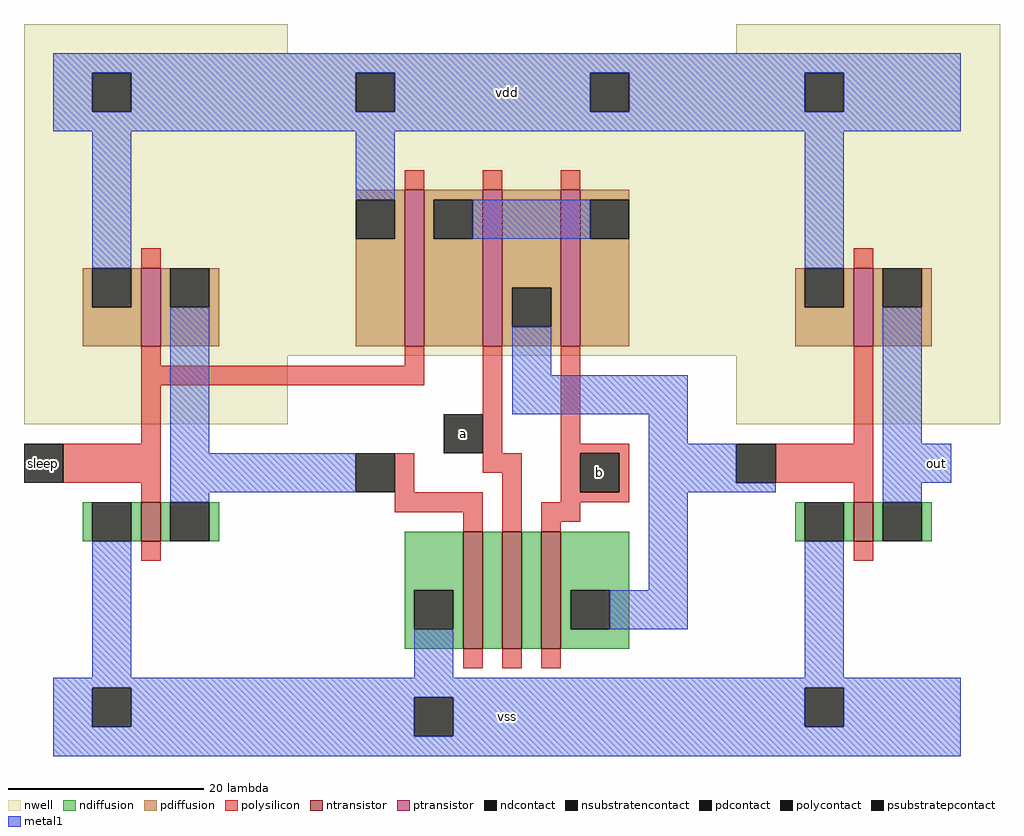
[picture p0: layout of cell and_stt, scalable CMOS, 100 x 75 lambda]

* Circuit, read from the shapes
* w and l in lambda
.subckt and_stt a b out sleep vdd vss
M1 n1 sleep vss vss nfet w=4 l=2
M2 n2 n1 vss vss nfet w=12 l=2
M3 n3 a n2 vss nfet w=12 l=2
M4 n4 b n3 vss nfet w=12 l=2
M5 out n4 vss vss nfet w=4 l=2
M6 n1 sleep vdd vdd pfet w=8 l=2
M7 n5 sleep vdd vdd pfet w=16 l=2
M8 n4 a n5 vdd pfet w=16 l=2
M9 n5 b n4 vdd pfet w=16 l=2
M10 out n4 vdd vdd pfet w=8 l=2
.ends

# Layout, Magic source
magic
tech scmos
<< nwell >>
rect -39 72 -12 75
rect 34 72 61 75
rect -39 41 61 72
rect -39 34 -12 41
rect 34 34 61 41
<< polysilicon >>
rect 0 58 2 60
rect 8 58 10 60
rect 16 58 18 60
rect -27 50 -25 52
rect 46 50 48 52
rect -27 40 -25 42
rect 0 40 2 42
rect -27 38 2 40
rect -27 32 -25 38
rect -35 28 -25 32
rect 8 31 10 42
rect 16 32 18 42
rect 46 32 48 42
rect 16 31 23 32
rect -27 26 -25 28
rect -1 27 1 31
rect 8 29 12 31
rect -1 25 8 27
rect 6 23 8 25
rect 10 23 12 29
rect 16 27 18 31
rect 22 27 23 31
rect 38 28 48 32
rect 16 26 23 27
rect 46 26 48 28
rect 14 24 18 26
rect 14 23 16 24
rect -27 20 -25 22
rect 46 20 48 22
rect 6 9 8 11
rect 10 9 12 11
rect 14 9 16 11
<< ndiffusion >>
rect -33 22 -32 26
rect -28 22 -27 26
rect -25 22 -24 26
rect -20 22 -19 26
rect 0 17 6 23
rect 0 13 1 17
rect 5 13 6 17
rect 0 11 6 13
rect 8 11 10 23
rect 12 11 14 23
rect 16 17 23 23
rect 40 22 41 26
rect 45 22 46 26
rect 48 22 49 26
rect 53 22 54 26
rect 16 13 17 17
rect 21 13 23 17
rect 16 11 23 13
<< pdiffusion >>
rect -5 57 0 58
rect -1 53 0 57
rect -33 46 -32 50
rect -28 46 -27 50
rect -33 42 -27 46
rect -25 46 -24 50
rect -20 46 -19 50
rect -25 42 -19 46
rect -5 42 0 53
rect 2 57 8 58
rect 2 53 3 57
rect 7 53 8 57
rect 2 42 8 53
rect 10 48 16 58
rect 10 44 11 48
rect 15 44 16 48
rect 10 42 16 44
rect 18 57 23 58
rect 18 53 19 57
rect 18 42 23 53
rect 40 46 41 50
rect 45 46 46 50
rect 40 42 46 46
rect 48 46 49 50
rect 53 46 54 50
rect 48 42 54 46
<< metal1 >>
rect -36 70 57 72
rect -36 66 -32 70
rect -28 66 -5 70
rect -1 66 19 70
rect 23 66 41 70
rect 45 66 57 70
rect -36 64 57 66
rect -32 50 -28 64
rect -5 57 -1 64
rect 7 53 19 57
rect 41 50 45 64
rect -24 31 -20 46
rect 11 39 15 44
rect 11 35 29 39
rect 25 32 29 35
rect 49 32 53 46
rect -24 27 -5 31
rect 25 28 34 32
rect 25 27 38 28
rect 49 28 56 32
rect -24 26 -20 27
rect -32 8 -28 22
rect 25 17 29 27
rect 49 26 53 28
rect 21 13 29 17
rect 1 8 5 13
rect 41 8 45 22
rect -36 7 57 8
rect -36 3 -32 7
rect -28 6 41 7
rect -28 3 1 6
rect -36 2 1 3
rect 5 3 41 6
rect 45 3 57 7
rect 5 2 57 3
rect -36 0 57 2
<< ntransistor >>
rect -27 22 -25 26
rect 6 11 8 23
rect 10 11 12 23
rect 14 11 16 23
rect 46 22 48 26
<< ptransistor >>
rect -27 42 -25 50
rect 0 42 2 58
rect 8 42 10 58
rect 16 42 18 58
rect 46 42 48 50
<< polycontact >>
rect -39 28 -35 32
rect 4 31 8 35
rect -5 27 -1 31
rect 18 27 22 31
rect 34 28 38 32
<< ndcontact >>
rect -32 22 -28 26
rect -24 22 -20 26
rect 1 13 5 17
rect 41 22 45 26
rect 49 22 53 26
rect 17 13 21 17
<< pdcontact >>
rect -5 53 -1 57
rect -32 46 -28 50
rect -24 46 -20 50
rect 3 53 7 57
rect 11 44 15 48
rect 19 53 23 57
rect 41 46 45 50
rect 49 46 53 50
<< psubstratepcontact >>
rect -32 3 -28 7
rect 1 2 5 6
rect 41 3 45 7
<< nsubstratencontact >>
rect -32 66 -28 70
rect -5 66 -1 70
rect 19 66 23 70
rect 41 66 45 70
<< labels >>
rlabel polycontact 18 27 22 31 5 b
rlabel polycontact -39 28 -35 32 7 sleep
rlabel metal1 53 28 56 32 3 out
rlabel nwell -36 64 57 72 1 vdd
rlabel metal1 -36 0 57 8 5 vss
rlabel polycontact 4 31 8 35 5 a
<< end >>
